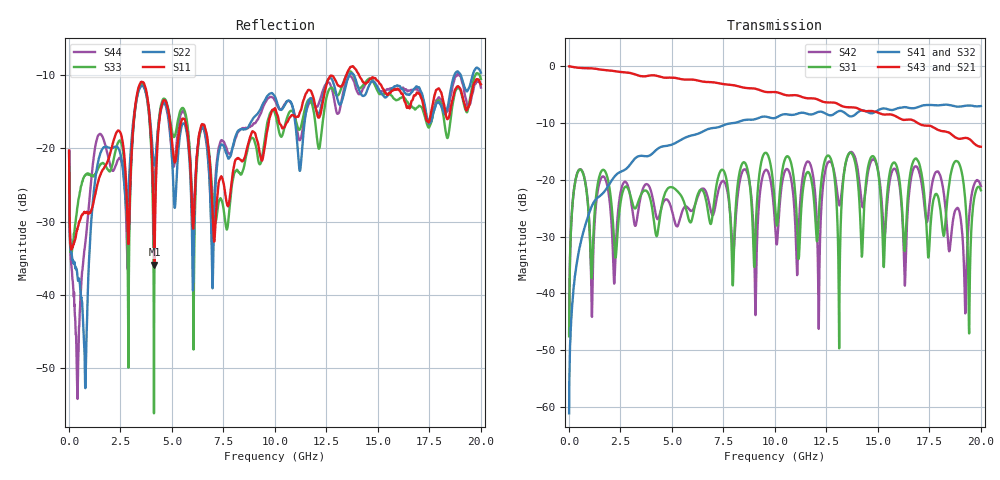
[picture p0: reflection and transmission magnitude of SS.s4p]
!Keysight Technologies,N5245A,MY56052327,A.10.47.06
!Date: Tuesday, January 19, 2021 16:44:37
!Correction: S11(Full 4 Port(1,2,3,4))
!S12(Full 4 Port(1,2,3,4))
!S13(Full 4 Port(1,2,3,4))
!S14(Full 4 Port(1,2,3,4))
!S21(Full 4 Port(1,2,3,4))
!S22(Full 4 Port(1,2,3,4))
!S23(Full 4 Port(1,2,3,4))
!S24(Full 4 Port(1,2,3,4))
!S31(Full 4 Port(1,2,3,4))
!S32(Full 4 Port(1,2,3,4))
!S33(Full 4 Port(1,2,3,4))
!S34(Full 4 Port(1,2,3,4))
!S41(Full 4 Port(1,2,3,4))
!S42(Full 4 Port(1,2,3,4))
!S43(Full 4 Port(1,2,3,4))
!S44(Full 4 Port(1,2,3,4))
!S4P File: Measurements: <S11,S12,S13,S14>,
!<S21,S22,S23,S24>,
!<S31,S32,S33,S34>,
!<S41,S42,S43,S44>:
# Hz S  dB  R 50
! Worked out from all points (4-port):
!   2000 points, 10 MHz to 20 GHz, reference 50 ohm
!   strongest paths, dB at 10 MHz, 5.01 GHz, 10.01 GHz, 15.01 GHz, 20 GHz:
!     S43: -0.1, -2.1, -4.6, -8.2, -14.2
!     S21: -0.1, -2.0, -4.7, -8.5, -14.5
!     S41: -61.1, -13.8, -9.2, -7.8, -7.1
!     S32: -57.3, -13.8, -9.2, -7.7, -7.3
!     S31: -47.5, -21.3, -24.8, -18.6, -21.9
!     S42: -47.0, -25.6, -28.1, -18.4, -21.2
!   lowest |S11| = -35.9 dB at 4.15 GHz (marker M1), VSWR 1.03, Z = 48.5 - j0.412 ohm
!   |S11| at or under -10 dB: start of sweep to 13.47 GHz; 14.08 GHz to end of sweep
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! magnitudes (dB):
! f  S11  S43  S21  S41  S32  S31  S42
! 10 MHz  -20.3  -0.1  -0.1  -61.1  -57.3  -47.5  -47.0
! 410 MHz  -31.0  -0.3  -0.3  -34.1  -34.7  -18.8  -18.8
! 1.03 GHz  -28.8  -0.4  -0.5  -25.4  -25.4  -31.1  -30.8
! 2.88 GHz  -33.0  -1.2  -1.2  -17.8  -17.7  -21.7  -21.3
! 3.58 GHz  -11.0  -1.9  -1.8  -15.8  -15.9  -22.2  -21.7
! 4.15 GHz  -35.9  -1.7  -1.7  -15.1  -15.1  -27.9  -24.9
! 20 GHz  -11.3  -14.2  -14.5  -7.1  -7.3  -21.9  -21.2
